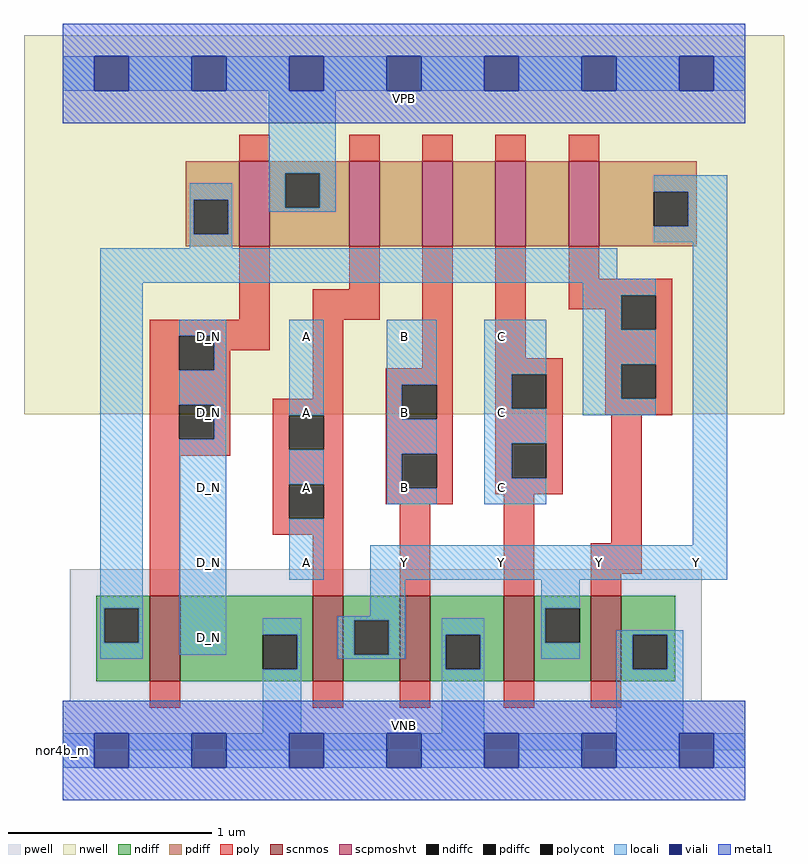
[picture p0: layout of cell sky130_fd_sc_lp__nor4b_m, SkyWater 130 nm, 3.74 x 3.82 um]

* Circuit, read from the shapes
.subckt sky130_fd_sc_lp__nor4b_m A B C D_N VGND VNB VPB VPWR Y
XM1 VGND D_N n1 VNB sky130_fd_pr__nfet_01v8 w=0.42 l=0.15
XM2 Y A VGND VNB sky130_fd_pr__nfet_01v8 w=0.42 l=0.15
XM3 VGND B Y VNB sky130_fd_pr__nfet_01v8 w=0.42 l=0.15
XM4 Y C VGND VNB sky130_fd_pr__nfet_01v8 w=0.42 l=0.15
XM5 VGND n1 Y VNB sky130_fd_pr__nfet_01v8 w=0.42 l=0.15
XM6 VPWR D_N n1 VPB sky130_fd_pr__pfet_01v8_hvt w=0.42 l=0.15
XM7 n2 A VPWR VPB sky130_fd_pr__pfet_01v8_hvt w=0.42 l=0.15
XM8 n3 B n2 VPB sky130_fd_pr__pfet_01v8_hvt w=0.42 l=0.15
XM9 n4 C n3 VPB sky130_fd_pr__pfet_01v8_hvt w=0.42 l=0.15
XM10 Y n1 n4 VPB sky130_fd_pr__pfet_01v8_hvt w=0.42 l=0.15
.ends

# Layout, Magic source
magic
tech sky130A
magscale 1 2
<< nwell >>
rect -38 331 710 704
<< pwell >>
rect 7 49 629 178
rect 0 0 672 49
<< scnmos >>
rect 86 68 116 152
rect 246 68 276 152
rect 332 68 362 152
rect 434 68 464 152
rect 520 68 550 152
<< scpmoshvt >>
rect 174 496 204 580
rect 282 496 312 580
rect 354 496 384 580
rect 426 496 456 580
rect 498 496 528 580
<< ndiff >>
rect 33 140 86 152
rect 33 106 41 140
rect 75 106 86 140
rect 33 68 86 106
rect 116 114 246 152
rect 116 80 197 114
rect 231 80 246 114
rect 116 68 246 80
rect 276 128 332 152
rect 276 94 287 128
rect 321 94 332 128
rect 276 68 332 94
rect 362 114 434 152
rect 362 80 377 114
rect 411 80 434 114
rect 362 68 434 80
rect 464 140 520 152
rect 464 106 475 140
rect 509 106 520 140
rect 464 68 520 106
rect 550 114 603 152
rect 550 80 561 114
rect 595 80 603 114
rect 550 68 603 80
<< pdiff >>
rect 121 542 174 580
rect 121 508 129 542
rect 163 508 174 542
rect 121 496 174 508
rect 204 568 282 580
rect 204 534 219 568
rect 253 534 282 568
rect 204 496 282 534
rect 312 496 354 580
rect 384 496 426 580
rect 456 496 498 580
rect 528 550 624 580
rect 528 516 582 550
rect 616 516 624 550
rect 528 496 624 516
<< ndiffc >>
rect 41 106 75 140
rect 197 80 231 114
rect 287 94 321 128
rect 377 80 411 114
rect 475 106 509 140
rect 561 80 595 114
<< pdiffc >>
rect 129 508 163 542
rect 219 534 253 568
rect 582 516 616 550
<< poly >>
rect 174 580 204 606
rect 282 580 312 606
rect 354 580 384 606
rect 426 580 456 606
rect 498 580 528 606
rect 174 424 204 496
rect 282 454 312 496
rect 86 408 204 424
rect 86 374 115 408
rect 149 394 204 408
rect 246 424 312 454
rect 149 374 165 394
rect 86 340 165 374
rect 246 346 276 424
rect 354 376 384 496
rect 86 306 115 340
rect 149 306 165 340
rect 86 290 165 306
rect 207 330 276 346
rect 207 296 223 330
rect 257 296 276 330
rect 86 152 116 290
rect 207 262 276 296
rect 207 228 223 262
rect 257 228 276 262
rect 318 360 384 376
rect 318 326 334 360
rect 368 326 384 360
rect 318 292 384 326
rect 318 258 334 292
rect 368 258 384 292
rect 318 242 384 258
rect 426 386 456 496
rect 498 464 528 496
rect 498 448 600 464
rect 498 434 550 448
rect 534 414 550 434
rect 584 414 600 448
rect 426 370 492 386
rect 426 336 442 370
rect 476 336 492 370
rect 426 302 492 336
rect 534 380 600 414
rect 534 346 550 380
rect 584 346 600 380
rect 534 330 600 346
rect 426 268 442 302
rect 476 268 492 302
rect 426 252 492 268
rect 207 212 276 228
rect 246 152 276 212
rect 332 152 362 242
rect 434 152 464 252
rect 540 204 570 330
rect 520 174 570 204
rect 520 152 550 174
rect 86 42 116 68
rect 246 42 276 68
rect 332 42 362 68
rect 434 42 464 68
rect 520 42 550 68
<< polycont >>
rect 115 374 149 408
rect 115 306 149 340
rect 223 296 257 330
rect 223 228 257 262
rect 334 326 368 360
rect 334 258 368 292
rect 550 414 584 448
rect 442 336 476 370
rect 550 346 584 380
rect 442 268 476 302
<< locali >>
rect 0 649 31 683
rect 65 649 127 683
rect 161 649 223 683
rect 257 649 319 683
rect 353 649 415 683
rect 449 649 511 683
rect 545 649 607 683
rect 641 649 672 683
rect 203 568 269 649
rect 125 542 167 558
rect 125 508 129 542
rect 163 508 167 542
rect 203 534 219 568
rect 253 534 269 568
rect 203 530 269 534
rect 582 550 654 566
rect 125 494 167 508
rect 616 516 654 550
rect 582 500 654 516
rect 37 464 546 494
rect 37 460 584 464
rect 37 140 79 460
rect 512 448 584 460
rect 37 106 41 140
rect 75 106 79 140
rect 37 90 79 106
rect 115 408 161 424
rect 149 374 161 408
rect 115 340 161 374
rect 149 306 161 340
rect 115 94 161 306
rect 223 330 257 424
rect 223 262 257 296
rect 319 360 368 424
rect 319 326 334 360
rect 319 292 368 326
rect 319 258 334 292
rect 319 242 368 258
rect 415 370 476 424
rect 415 336 442 370
rect 415 302 476 336
rect 512 414 550 448
rect 512 380 584 414
rect 512 346 550 380
rect 512 330 584 346
rect 415 268 442 302
rect 415 242 476 268
rect 223 168 257 228
rect 620 202 654 500
rect 303 168 654 202
rect 303 132 337 168
rect 197 114 235 130
rect 231 80 235 114
rect 271 128 337 132
rect 471 140 509 168
rect 271 94 287 128
rect 321 94 337 128
rect 271 90 337 94
rect 373 114 415 130
rect 197 17 235 80
rect 373 80 377 114
rect 411 80 415 114
rect 471 106 475 140
rect 471 90 509 106
rect 545 114 611 118
rect 373 17 415 80
rect 545 80 561 114
rect 595 80 611 114
rect 545 17 611 80
rect 0 -17 31 17
rect 65 -17 127 17
rect 161 -17 223 17
rect 257 -17 319 17
rect 353 -17 415 17
rect 449 -17 511 17
rect 545 -17 607 17
rect 641 -17 672 17
<< viali >>
rect 31 649 65 683
rect 127 649 161 683
rect 223 649 257 683
rect 319 649 353 683
rect 415 649 449 683
rect 511 649 545 683
rect 607 649 641 683
rect 31 -17 65 17
rect 127 -17 161 17
rect 223 -17 257 17
rect 319 -17 353 17
rect 415 -17 449 17
rect 511 -17 545 17
rect 607 -17 641 17
<< metal1 >>
rect 0 683 672 715
rect 0 649 31 683
rect 65 649 127 683
rect 161 649 223 683
rect 257 649 319 683
rect 353 649 415 683
rect 449 649 511 683
rect 545 649 607 683
rect 641 649 672 683
rect 0 617 672 649
rect 0 17 672 49
rect 0 -17 31 17
rect 65 -17 127 17
rect 161 -17 223 17
rect 257 -17 319 17
rect 353 -17 415 17
rect 449 -17 511 17
rect 545 -17 607 17
rect 641 -17 672 17
rect 0 -49 672 -17
<< labels >>
flabel pwell s 0 0 672 49 0 FreeSans 200 0 0 0 VNB
port 6 nsew ground bidirectional
flabel nwell s 0 617 672 666 0 FreeSans 200 0 0 0 VPB
port 7 nsew power bidirectional
rlabel comment s 0 0 0 0 4 nor4b_m
flabel metal1 s 0 617 672 666 0 FreeSans 340 0 0 0 VPWR
port 8 nsew power bidirectional
flabel metal1 s 0 0 672 49 0 FreeSans 340 0 0 0 VGND
port 5 nsew ground bidirectional
flabel locali s 223 168 257 202 0 FreeSans 340 0 0 0 A
port 1 nsew signal input
flabel locali s 223 242 257 276 0 FreeSans 340 0 0 0 A
port 1 nsew signal input
flabel locali s 223 316 257 350 0 FreeSans 340 0 0 0 A
port 1 nsew signal input
flabel locali s 223 390 257 424 0 FreeSans 340 0 0 0 A
port 1 nsew signal input
flabel locali s 319 242 353 276 0 FreeSans 340 0 0 0 B
port 2 nsew signal input
flabel locali s 319 316 353 350 0 FreeSans 340 0 0 0 B
port 2 nsew signal input
flabel locali s 319 390 353 424 0 FreeSans 340 0 0 0 B
port 2 nsew signal input
flabel locali s 415 242 449 276 0 FreeSans 340 0 0 0 C
port 3 nsew signal input
flabel locali s 415 316 449 350 0 FreeSans 340 0 0 0 C
port 3 nsew signal input
flabel locali s 415 390 449 424 0 FreeSans 340 0 0 0 C
port 3 nsew signal input
flabel locali s 127 94 161 128 0 FreeSans 340 0 0 0 D_N
port 4 nsew signal input
flabel locali s 127 168 161 202 0 FreeSans 340 0 0 0 D_N
port 4 nsew signal input
flabel locali s 127 242 161 276 0 FreeSans 340 0 0 0 D_N
port 4 nsew signal input
flabel locali s 127 316 161 350 0 FreeSans 340 0 0 0 D_N
port 4 nsew signal input
flabel locali s 127 390 161 424 0 FreeSans 340 0 0 0 D_N
port 4 nsew signal input
flabel locali s 319 168 353 202 0 FreeSans 340 0 0 0 Y
port 9 nsew signal output
flabel locali s 415 168 449 202 0 FreeSans 340 0 0 0 Y
port 9 nsew signal output
flabel locali s 511 168 545 202 0 FreeSans 340 0 0 0 Y
port 9 nsew signal output
flabel locali s 607 168 641 202 0 FreeSans 340 0 0 0 Y
port 9 nsew signal output
<< properties >>
string LEFsite unit
string LEFclass CORE
string FIXED_BBOX 0 0 672 666
string GDS_FILE $PDKPATH/libs.ref/sky130_fd_sc_lp/gds/sky130_fd_sc_lp.gds
string LEFsymmetry X Y R90
string GDS_END 1822762
string GDS_START 1815272
<< end >>
